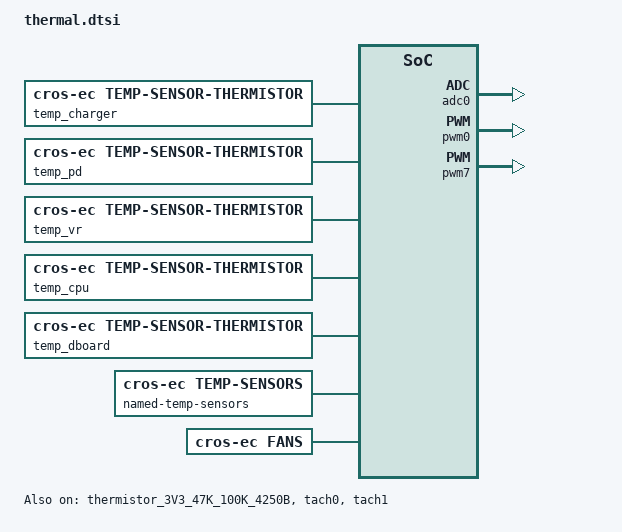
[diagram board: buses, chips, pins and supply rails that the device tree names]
/* Copyright 2026 The ChromiumOS Authors
 * Use of this source code is governed by a BSD-style license that can be
 * found in the LICENSE file.
 */

#include <cros/thermistor/thermistor.dtsi>

/ {
	named-adc-channels {
		compatible = "named-adc-channels";
		adc_charger_amon_bmon: charger_amon_bmon {
			enum-name = "ADC_AMON_BMON";
			io-channels = <&adc0 1>;
		};
		adc_temp_charger: temp_charger {
			enum-name = "ADC_TEMP_SENSOR_2_AMBIENT";
			io-channels = <&adc0 2>;
		};
		adc_temp_pd: temp_pd {
			enum-name = "ADC_TEMP_SENSOR_4";
			io-channels = <&adc0 5>;
		};
		adc_temp_vr: temp_vr {
			enum-name = "ADC_TEMP_SENSOR_PP3300_REGULATOR";
			io-channels = <&adc0 4>;
		};
		adc_temp_cpu: temp_cpu {
			enum-name = "ADC_TEMP_SENSOR_1_DDR_SOC";
			io-channels = <&adc0 3>;
		};
		adc_temp_dboard: temp_dboard {
			enum-name = "ADC_TEMP_SENSOR_5";
			io-channels = <&adc0 6>;
		};
	};

	temp_charger: charger-thermistor {
		compatible = "cros-ec,temp-sensor-thermistor";
		thermistor = <&thermistor_3V3_47K_100K_4250B>;
		adc = <&adc_temp_charger>;
	};
	temp_pd: pd-thermistor {
		compatible = "cros-ec,temp-sensor-thermistor";
		thermistor = <&thermistor_3V3_47K_100K_4250B>;
		adc = <&adc_temp_pd>;
	};
	temp_vr: vr-thermistor {
		compatible = "cros-ec,temp-sensor-thermistor";
		thermistor = <&thermistor_3V3_47K_100K_4250B>;
		adc = <&adc_temp_vr>;
	};
	temp_cpu: cpu-thermistor {
		compatible = "cros-ec,temp-sensor-thermistor";
		thermistor = <&thermistor_3V3_47K_100K_4250B>;
		adc = <&adc_temp_cpu>;
	};
	temp_dboard: dboard-thermistor {
		compatible = "cros-ec,temp-sensor-thermistor";
		thermistor = <&thermistor_3V3_47K_100K_4250B>;
		adc = <&adc_temp_dboard>;
	};

	named-temp-sensors {
		compatible = "cros-ec,temp-sensors";

		temp_sensor_charger: charger-sensor {
			power-good-pin = <&gpio_pg_pp1250_soc_s5_od>;
			sensor = <&temp_charger>;
		};
		temp_sensor_pd: pd-sensor {
			power-good-pin = <&gpio_pg_pp1250_soc_s5_od>;
			sensor = <&temp_pd>;
		};
		temp_sensor_vr: vr-sensor {
			power-good-pin = <&gpio_pg_pp1250_soc_s5_od>;
			sensor = <&temp_vr>;
		};
		temp_sensor_cpu: cpu-sensor {
			power-good-pin = <&gpio_pg_pp1250_soc_s5_od>;
			sensor = <&temp_cpu>;
		};
		temp_sensor_dboard: dboard-sensor {
			power-good-pin = <&gpio_pg_pp1250_soc_s5_od>;
			sensor = <&temp_dboard>;
		};
	};

	fans {
		compatible = "cros-ec,fans";
		fan0: fan0 {
			pwms = <&pwm0 PWM_CHANNEL_0 PWM_KHZ(25) PWM_POLARITY_NORMAL>;
			tach = <&tach0>;
			rpm-min = <3400>;
			rpm-start = <2200>;
			rpm-max = <6500>;
			rpm-deviation = <1>;
			pgood-gpio = <&gpio_all_sys_pwrgd>;
		};

		fan1: fan1 {
			pwms = <&pwm7 PWM_CHANNEL_7 PWM_KHZ(25) PWM_POLARITY_NORMAL>;
			tach = <&tach1>;
			rpm-min = <3150>;
			rpm-start = <2000>;
			rpm-max = <6200>;
			rpm-deviation = <1>;
			pgood-gpio = <&gpio_all_sys_pwrgd>;
		};

	};
};

&adc0 {
	status = "okay";
	pinctrl-0 = <&adc0_ch1_gpi1_default
		&adc0_ch2_gpi2_default
		&adc0_ch3_gpi3_default
		&adc0_ch4_gpi4_default
		&adc0_ch5_gpi5_default
		&adc0_ch6_gpi6_default>;
	pinctrl-names = "default";
};

&thermistor_3V3_47K_100K_4250B {
	status = "okay";
};

&pwm0 {
       status = "okay";
       prescaler-cx = <PWM_PRESCALER_C6>;
       pinctrl-0 = <&pwm0_gpa0_default>;
       pinctrl-names = "default";
};

&pwm7 {
       status = "okay";
       prescaler-cx = <PWM_PRESCALER_C7>;
       pinctrl-0 = <&pwm7_gpa7_default>;
       pinctrl-names = "default";
};

&tach0 {
	status = "okay";
	pinctrl-0 = <&tach0a_gpd6_default>;
	pinctrl-names = "default";
	channel = <IT8XXX2_TACH_CHANNEL_A>;
	pulses-per-round = <2>;
};

&tach1 {
	status = "okay";
	pinctrl-0 = <&tach1a_gpd7_default>;
	pinctrl-names = "default";
	channel = <IT8XXX2_TACH_CHANNEL_A>;
	pulses-per-round = <2>;
};
